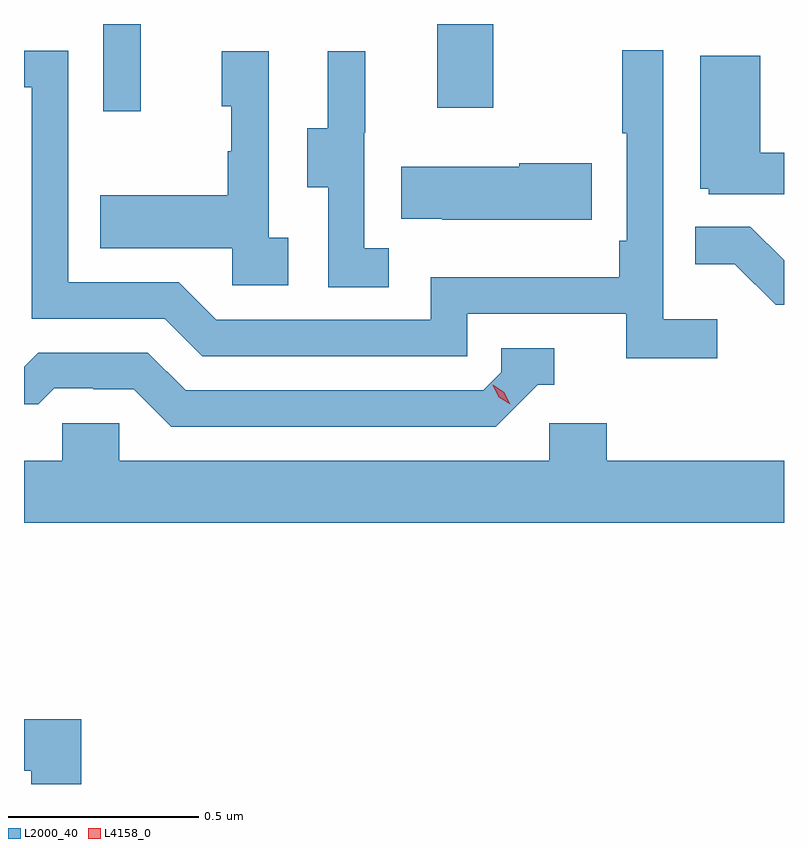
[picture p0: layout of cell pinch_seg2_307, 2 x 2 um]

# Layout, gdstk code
import gdstk
lib = gdstk.Library(unit=1e-6, precision=1e-09)
def R(c, l, rs):  # rectangles x0, y0, x1, y1
    for r in rs: c.add(gdstk.rectangle(r[:2], r[2:], *l))
def P(c, l, *ps):  # polygons
    for p in ps: c.add(gdstk.Polygon(p, *l))
L2000_40 = (2000, 40)
L4158_0 = (4158, 0)

pinch_seg2_307 = lib.new_cell('pinch_seg2_307')
R(pinch_seg2_307, L2000_40, [(891.045,638.064,891.143,638.293), (891.923,638.073,892.071,638.293)])
P(pinch_seg2_307, L2000_40, [(892.66,637.516),(892.518,637.516),(892.518,638.224),(892.41,638.224),(892.41,638.005),(892.422,638.005),(892.422,637.723),(892.402,637.723),(892.402,637.627),(891.906,637.627),(891.906,637.515),(891.342,637.515),(891.243,637.614),(890.952,637.614),(890.952,638.223),(890.836,638.223),(890.836,638.127),(890.856,638.127),(890.856,637.518),(891.206,637.518),(891.305,637.419),(892.002,637.419),(892.002,637.53),(892.421,637.53),(892.421,637.414),(892.66,637.414)],
  [(891.532,637.73),(891.48,637.73),(891.48,638.221),(891.356,638.221),(891.356,638.076),(891.382,638.076),(891.382,637.958),(891.372,637.958),(891.372,637.843),(891.037,637.843),(891.037,637.703),(891.384,637.703),(891.384,637.605),(891.532,637.605)],
  [(891.796,637.703),(891.732,637.703),(891.732,638.007),(891.734,638.007),(891.734,638.221),(891.635,638.221),(891.635,638.019),(891.581,638.019),(891.581,637.864),(891.636,637.864),(891.636,637.6),(891.796,637.6)],
  [(892.836,637.954),(892.774,637.954),(892.774,638.209),(892.616,638.209),(892.616,637.86),(892.638,637.86),(892.638,637.845),(892.836,637.845)],
  [(892.33,637.926),(892.139,637.926),(892.139,637.918),(891.829,637.918),(891.829,637.781),(891.937,637.781),(891.937,637.778),(892.33,637.778)],
  [(892.836,637.671),(892.747,637.76),(892.603,637.76),(892.603,637.661),(892.707,637.661),(892.814,637.554),(892.836,637.554)],
  [(892.188,637.344),(892.231,637.344),(892.231,637.44),(892.092,637.44),(892.092,637.377),(892.044,637.329),(891.261,637.329),(891.162,637.428),(890.873,637.428),(890.836,637.391),(890.836,637.293),(890.873,637.293),(890.915,637.335),(891.018,637.335),(891.018,637.332),(891.125,637.332),(891.224,637.233),(892.077,637.233)],
  [(892.836,637.144),(892.37,637.144),(892.37,637.242),(892.218,637.242),(892.218,637.144),(891.087,637.144),(891.087,637.242),(890.937,637.242),(890.937,637.144),(890.836,637.144),(890.836,636.98),(892.836,636.98)],
  [(890.987,636.464),(890.836,636.464),(890.836,636.328),(890.855,636.328),(890.855,636.293),(890.987,636.293)])
P(pinch_seg2_307, L4158_0, [(892.116,637.292),(892.085,637.311),(892.069,637.344),(892.069,637.344),(892.07,637.344),(892.1,637.324),(892.116,637.292),(892.116,637.292)])

lib.write_gds('pinch_seg2_307.gds')
